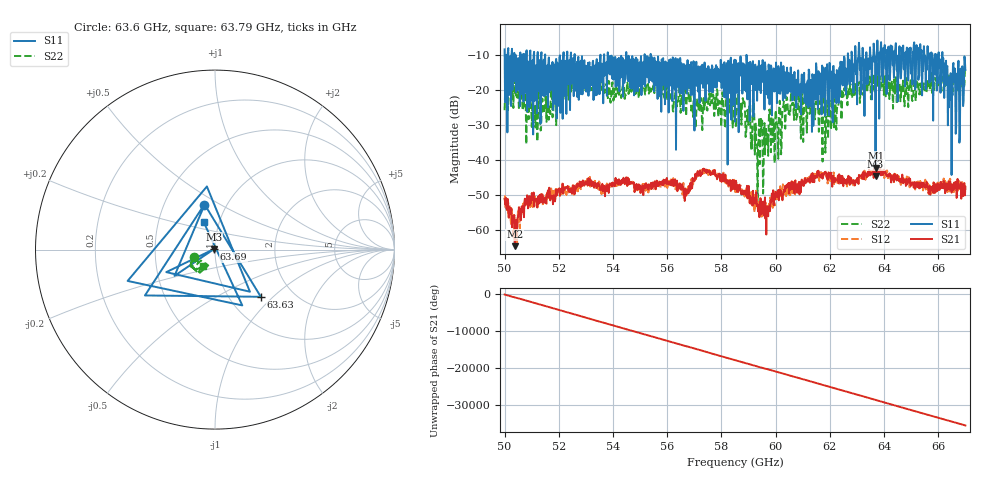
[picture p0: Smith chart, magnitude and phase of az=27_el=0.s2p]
!Created with skrf (http://scikit-rf.org).
# GHz S RI R 50.0
!freq ReS11 ImS11 ReS21 ImS21 ReS12 ImS12 ReS22 ImS22
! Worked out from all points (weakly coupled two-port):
!   1001 points, 50 GHz to 67 GHz, reference 50 ohm
!   highest |S21| = -42.43 dB at 63.7 GHz (marker M1); lowest = -64.8 dB at 50.37 GHz (marker M2)
!   lowest |S11| = -44.7 dB at 63.69 GHz (marker M3), VSWR 1.01, Z = 49.5 + j0.317 ohm
!   |S11| at or under -10 dB: 52.58 GHz to 53.53 GHz (949.9 MHz wide, 1.79 % of centre); 55.39 GHz to 58.92 GHz (3.534 GHz wide, 6.18 % of centre); 58.93 GHz to 62.66 GHz (3.738 GHz wide, 6.15 % of centre) (the widest 3 of 61)
!   |S22| runs from -51.7 to -13.6 dB; largest |S21 - S12| = 0.0023
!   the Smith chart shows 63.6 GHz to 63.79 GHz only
!   S11 on the Smith chart (normalised r, x): 63.6 GHz: 0.79, +0.42; 63.63 GHz: 1.39, -0.84; 63.69 GHz: 0.99, +0.01; 63.79 GHz: 0.84, +0.27
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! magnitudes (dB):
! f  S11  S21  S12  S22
! 50 GHz  -8.3  -51.3  -51.3  -25.7
! 50.37 GHz  -17.5  -64.8  -62.8  -18.3
! 51.27 GHz  -14.5  -52.1  -51.6  -21.9
! 52.84 GHz  -12.3  -46.7  -46.3  -20.6
! 55.68 GHz  -13.5  -46.7  -47.2  -21.9
! 56.7 GHz  -12.8  -50.3  -48.7  -27.4
! 57.46 GHz  -18.1  -42.9  -43.4  -25.4
! 58.5 GHz  -29.0  -48.4  -47.5  -25.3
! 59.61 GHz  -12.0  -50.7  -54.2  -38.5
! 60.35 GHz  -22.3  -47.5  -48.3  -31.0
! 61.34 GHz  -32.0  -46.2  -45.2  -27.7
! 61.78 GHz  -17.3  -44.2  -43.8  -20.3
! 63.12 GHz  -10.7  -44.7  -45.1  -21.3
! 63.6 GHz  -11.8  -43.3  -43.8  -18.0
! 63.63 GHz  -8.7  -42.6  -43.7  -16.3
! 63.69 GHz  -44.7  -42.8  -44.5  -16.0
! 63.7 GHz  -10.5  -42.4  -43.0  -15.9
! 63.79 GHz  -15.6  -44.0  -44.0  -18.8
! 64.18 GHz  -12.1  -44.8  -44.5  -18.1
! 66.1 GHz  -13.7  -46.4  -47.1  -19.2
! 66.44 GHz  -22.7  -46.2  -45.4  -15.7
! 67 GHz  -14.2  -47.7  -48.3  -13.9
